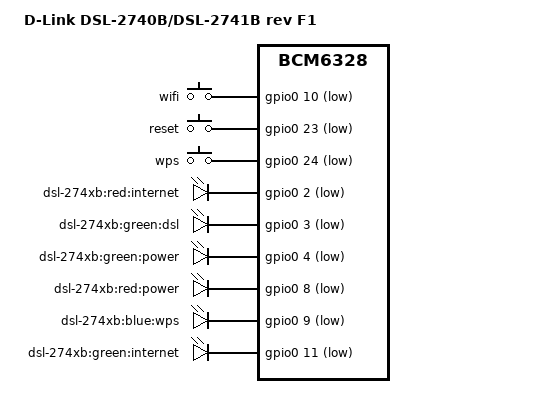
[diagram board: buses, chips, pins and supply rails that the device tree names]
/dts-v1/;

#include "bcm6328.dtsi"

#include <dt-bindings/input/input.h>

/ {
	model = "D-Link DSL-2740B/DSL-2741B rev F1";
	compatible = "d-link,dsl-274xb-f", "brcm,bcm6328";

	chosen {
		bootargs = "root=/dev/mtdblock2 rootfstype=squashfs,jffs2 noinitrd console=ttyS0,115200";
	};

	gpio-keys-polled {
		compatible = "gpio-keys-polled";
		#address-cells = <1>;
		#size-cells = <0>;
		poll-interval = <20>;
		debounce-interval = <60>;

		wifi {
			label = "wifi";
			gpios = <&gpio0 10 1>;
			linux,code = <KEY_WLAN>;
		};
		reset {
			label = "reset";
			gpios = <&gpio0 23 1>;
			linux,code = <KEY_RESTART>;
		};
		wps {
			label = "wps";
			gpios = <&gpio0 24 1>;
			linux,code = <KEY_WPS_BUTTON>;
		};
	};

	gpio-leds {
		compatible = "gpio-leds";

		inet_red {
			label = "dsl-274xb:red:internet";
			gpios = <&gpio0 2 1>;
		};
		dsl_green {
			label = "dsl-274xb:green:dsl";
			gpios = <&gpio0 3 1>;
		};
		power_green {
			label = "dsl-274xb:green:power";
			gpios = <&gpio0 4 1>;
			default-state = "on";
		};
		power_red {
			label = "dsl-274xb:red:power";
			gpios = <&gpio0 8 1>;
		};
		wps_blue {
			label = "dsl-274xb:blue:wps";
			gpios = <&gpio0 9 1>;
		};
		inet_green {
			label = "dsl-274xb:green:internet";
			gpios = <&gpio0 11 1>;
		};
	};
};
